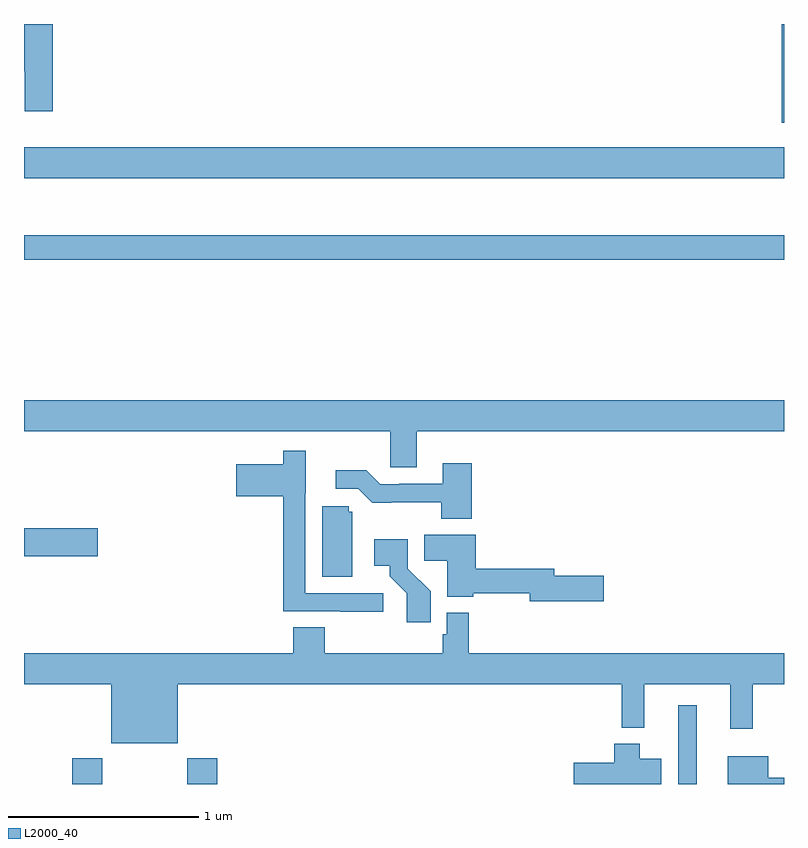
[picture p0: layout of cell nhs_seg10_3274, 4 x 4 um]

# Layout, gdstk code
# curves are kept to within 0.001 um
import gdstk
lib = gdstk.Library(unit=1e-6, precision=1e-09)
def R(c, l, rs):  # rectangles x0, y0, x1, y1
    for r in rs: c.add(gdstk.rectangle(r[:2], r[2:], *l))
def P(c, l, *ps):  # polygons
    for p in ps: c.add(gdstk.Polygon(p, *l))
L2000_40 = (2000, 40)

nhs_seg10_3274 = lib.new_cell('nhs_seg10_3274')
R(nhs_seg10_3274, L2000_40, [(289.253,1258.5,289.413,1258.636), (289.858,1258.5,290.018,1258.636), (292.443,1258.5,292.54,1258.915), (289,1259.699,289.387,1259.846), (289,1261.258,293,1261.387), (289,1261.688,293,1261.852), (292.987,1261.98,293,1262.5)])
P(nhs_seg10_3274, L2000_40, [(289.151,1262.5),(289,1262.5),(289,1262.252),(289.004,1262.252),(289.004,1262.04),(289.151,1262.04)],
  [(291.067,1260.356),(293,1260.356),(293,1260.52),(289,1260.52),(289,1260.356),(290.928,1260.356),(290.928,1260.166),(291.067,1260.166)],
  [(290.89,1259.505),(290.481,1259.505),(290.481,1260.03),(290.482,1260.03),(290.482,1260.253),(290.365,1260.253),(290.365,1260.184),(290.118,1260.184),(290.118,1260.014),(290.365,1260.014),(290.365,1259.409),(290.665,1259.409),(290.665,1259.407),(290.89,1259.407)],
  [(291.356,1260.187),(291.203,1260.187),(291.203,1260.081),(290.974,1260.081),(290.974,1260.078),(290.874,1260.078),(290.801,1260.151),(290.64,1260.151),(290.64,1260.054),(290.76,1260.054),(290.833,1259.981),(291.196,1259.982),(291.196,1259.897),(291.356,1259.897)],
  [(290.728,1259.934),(290.709,1259.934),(290.709,1259.961),(290.57,1259.961),(290.57,1259.59),(290.728,1259.59)],
  [(292.051,1259.597),(291.79,1259.597),(291.79,1259.633),(291.377,1259.633),(291.377,1259.812),(291.106,1259.812),(291.106,1259.674),(291.227,1259.674),(291.227,1259.486),(291.364,1259.486),(291.364,1259.505),(291.662,1259.505),(291.662,1259.462),(292.051,1259.462)],
  [(291.14,1259.514),(291.021,1259.633),(291.021,1259.788),(290.844,1259.788),(290.844,1259.648),(290.924,1259.648),(290.924,1259.593),(291.015,1259.503),(291.015,1259.352),(291.14,1259.352)],
  [(289.81,1259.024),(292.147,1259.024),(292.147,1258.796),(292.265,1258.796),(292.265,1259.024),(292.718,1259.024),(292.718,1258.791),(292.835,1258.791),(292.835,1259.024),(293,1259.024),(293,1259.188),(291.341,1259.188),(291.341,1259.401),(291.225,1259.401),(291.225,1259.289),(291.205,1259.289),(291.205,1259.188),(290.582,1259.188),(290.582,1259.324),(290.417,1259.324),(290.417,1259.188),(289,1259.188),(289,1259.024),(289.46,1259.024),(289.46,1258.715),(289.81,1258.715)],
  [(292.354,1258.633),(292.24,1258.633),(292.24,1258.711),(292.106,1258.711),(292.106,1258.611),(291.894,1258.611),(291.894,1258.5),(292.354,1258.5)],
  [(293,1258.532),(292.918,1258.532),(292.918,1258.645),(292.703,1258.645),(292.703,1258.5),(293,1258.5)])

lib.write_gds('nhs_seg10_3274.gds')
